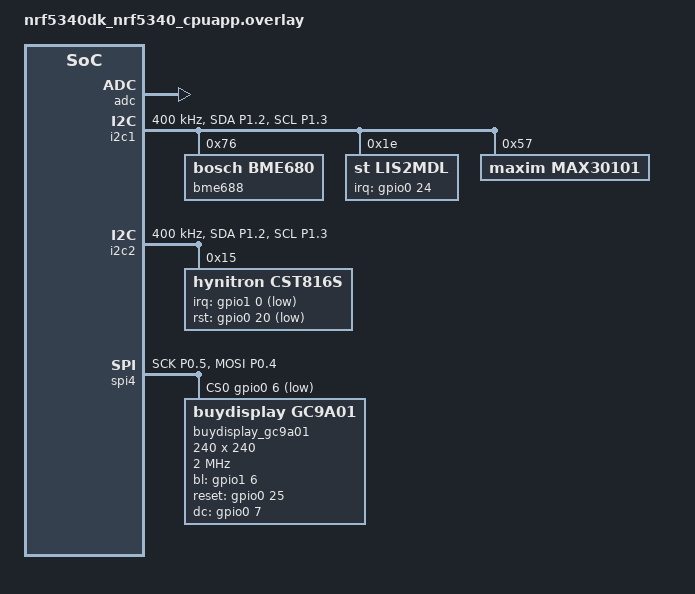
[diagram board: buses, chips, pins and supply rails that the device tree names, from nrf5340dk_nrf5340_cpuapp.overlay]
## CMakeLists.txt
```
# SPDX-License-Identifier: Apache-2.0

cmake_minimum_required(VERSION 3.20.0)

find_package(Zephyr REQUIRED HINTS $ENV{ZEPHYR_BASE})
project(lvgl)

add_subdirectory(drivers)

include_directories(src/)
include_directories(src/ui)


FILE(GLOB ui_sources src/ui/*.c)
target_sources(app PRIVATE ${ui_sources})

FILE(GLOB app_sources src/*.c)
target_sources(app PRIVATE ${app_sources})
```

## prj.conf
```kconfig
CONFIG_LV_Z_MEM_POOL_NUMBER_BLOCKS=8
CONFIG_MAIN_STACK_SIZE=2048

CONFIG_DISPLAY=y
CONFIG_DISPLAY_LOG_LEVEL_ERR=y

CONFIG_LOG=y
CONFIG_PM=y

CONFIG_I2C=y



CONFIG_LVGL=y
CONFIG_LV_MEM_CUSTOM=y
CONFIG_LV_USE_LOG=y
CONFIG_LV_USE_LABEL=y
CONFIG_LV_USE_BTN=y
CONFIG_LV_USE_IMG=y
CONFIG_LV_FONT_MONTSERRAT_14=y
CONFIG_SPI=y
CONFIG_PWM=y
CONFIG_PINCTRL=y
CONFIG_PM_DEVICE=y
CONFIG_PM_DEVICE_RUNTIME=y

CONFIG_GC9A01=y
CONFIG_KSCAN_CST816S=n

CONFIG_KSCAN=y
CONFIG_LV_Z_POINTER_KSCAN=y
CONFIG_LV_Z_POINTER_KSCAN_SWAP_XY=y
CONFIG_LV_Z_POINTER_KSCAN_INVERT_X=y
CONFIG_REGULATOR=y

CONFIG_LV_FONT_MONTSERRAT_10=y
CONFIG_LV_FONT_MONTSERRAT_12=y
CONFIG_LV_FONT_MONTSERRAT_16=y
CONFIG_LV_FONT_MONTSERRAT_18=y
CONFIG_LV_FONT_MONTSERRAT_20=y
CONFIG_LV_FONT_MONTSERRAT_22=y

CONFIG_LV_FONT_MONTSERRAT_24=y
CONFIG_LV_FONT_MONTSERRAT_26=y

CONFIG_LV_FONT_MONTSERRAT_28=y



CONFIG_DATE_TIME=y
CONFIG_DATE_TIME_NTP=n
CONFIG_DATE_TIME_AUTO_UPDATE=y
# CONFIG_ZTEST=y
# CONFIG_ZTEST_NEW_API=y
 
```

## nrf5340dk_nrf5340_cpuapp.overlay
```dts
/*
 * Copyright (c) 2023 Jakob Krantz
 *
 * SPDX-License-Identifier: Apache-2.0
 */

 &pinctrl {
    // Set to I2C pins that the sensors are connected to
    i2c1_default: i2c1_default {
        group1 {
            psels = <NRF_PSEL(TWIM_SDA, 1, 2)>,
                <NRF_PSEL(TWIM_SCL, 1, 3)>;
        };
    };

    i2c1_sleep: i2c1_sleep {
        group1 {
            psels = <NRF_PSEL(TWIM_SDA, 1, 2)>,
                <NRF_PSEL(TWIM_SCL, 1, 3)>;
            low-power-enable;
        };
    };

    // Set to I2C pins that the touch screen is connected to
    i2c2_default: i2c2_default {
        group1 {
            psels = <NRF_PSEL(TWIM_SDA, 1, 2)>,
                <NRF_PSEL(TWIM_SCL, 1, 3)>;
        };
    };

    i2c2_sleep: i2c2_sleep {
        group1 {
            psels = <NRF_PSEL(TWIM_SDA, 1, 2)>,
                <NRF_PSEL(TWIM_SCL, 1, 3)>;
            low-power-enable;
        };
    };

    // Set to the pins that the display is connected to
    spi4_default: spi4_default {
        group1 {
            psels = <NRF_PSEL(SPIM_SCK, 0, 5)>,
                <NRF_PSEL(SPIM_MOSI, 0, 4)>;
        };
    };

    spi4_sleep: spi4_sleep {
        group1 {
            psels = <NRF_PSEL(SPIM_SCK, 0, 5)>,
                <NRF_PSEL(SPIM_MOSI, 0, 4)>;
            low-power-enable;
        };
    };

};

/ {
    chosen {
        zephyr,display = &gc9a01;
        zephyr,keyboard-scan = &cst816s;
    };
    aliases {
        sw-top-right = &button1;
        sw-top-left = &button0;
        sw-bottom-right = &button3;
        sw-bottom-left = &button2;
        magn = &lis2mdl;
        kscan0 = &cst816s;
    };
};

&adc {
    status = "okay";
};

&gpiote {
    status = "okay";
};

&gpio0 {
    status = "okay";
    sense-edge-mask = < 0xffffffff >;
};

&gpio1 {
    status = "okay";
};

&i2c1 {
    compatible = "nordic,nrf-twim";
    status = "okay";
    clock-frequency = <I2C_BITRATE_FAST>;
    zephyr,concat-buf-size = <512>;
    pinctrl-0 = <&i2c1_default>;
    pinctrl-1 = <&i2c1_sleep>;
    pinctrl-names = "default", "sleep";


    bme688: bme688@76 {
        compatible = "bosch,bme680";
        reg = <0x76>;
    };

    lis2mdl: lis2mdl@1e {
        compatible = "st,lis2mdl";
        reg = <0x1e>;
        irq-gpios = <&gpio0 24 0>;
    };

    max30101@57 {
        status = "okay";
        compatible = "maxim,max30101";
        reg = <0x57>;
        //irq-gpios = <&gpio0 22 GPIO_ACTIVE_HIGH; // Not supported by Zephyr driver
    };

  
};

&i2c2 {
    compatible = "nordic,nrf-twim";
    status = "okay";
    clock-frequency = <I2C_BITRATE_FAST>;
    pinctrl-0 = <&i2c2_default>;
    pinctrl-1 = <&i2c2_sleep>;
    pinctrl-names = "default", "sleep";

    cst816s: cst816s@15 {
        compatible = "hynitron,cst816s";
        reg = <0x15>;
        irq-gpios = <&gpio1 0 GPIO_ACTIVE_LOW>;
        rst-gpios = <&gpio0 20 GPIO_ACTIVE_LOW>;
    };
};

&spi4  {
    status = "okay";
    compatible = "nordic,nrf-spim";
    pinctrl-0 = <&spi4_default>;
    pinctrl-1 = <&spi4_sleep>;
    pinctrl-names = "default", "sleep";
    cs-gpios = <&gpio0 6 GPIO_ACTIVE_LOW>;

    gc9a01: gc9a01@0 {
        compatible = "buydisplay,gc9a01";
        status = "okay";
        spi-max-frequency = <2000000>;
        reg = <0>;
        width = <240>;
        label = "buydisplay_gc9a01";
        height = <240>;
        bl-gpios = <&gpio1 6 GPIO_ACTIVE_HIGH>;
        reset-gpios = <&gpio0 25 GPIO_ACTIVE_HIGH>;
        dc-gpios = <&gpio0 7 GPIO_ACTIVE_HIGH>;
        
    };
};
```

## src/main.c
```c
#include <zephyr/kernel.h>
#include <zephyr/device.h>
#include <zephyr/devicetree.h>
#include <zephyr/drivers/display.h>
#include <zephyr/drivers/gpio.h>
#include <zephyr/sys/printk.h>
#include <hal/nrf_gpio.h>
#include "watchface_ui.h"
#include <string.h>



#define LOG_LEVEL CONFIG_LOG_DEFAULT_LEVEL
#include <zephyr/logging/log.h>
LOG_MODULE_REGISTER(app);


#ifdef CONFIG_GPIO
static struct gpio_dt_spec button_gpio = GPIO_DT_SPEC_GET_OR(
		DT_ALIAS(sw0), gpios, {0});
static struct gpio_callback button_callback;

static void button_isr_callback(const struct device *port,
				struct gpio_callback *cb,
				uint32_t pins)
{
	ARG_UNUSED(port);
	ARG_UNUSED(cb);
	ARG_UNUSED(pins);


	
}
#endif


/* 1000 msec = 1 sec */
#define SLEEP_TIME_MS   1000
bool blstatus = false;


// #define LED0_NODE DT_NODELABEL(led0)
#define LED1_NODE DT_NODELABEL(led1)

#define BUTTON0_NODE DT_NODELABEL(button0)
#define BUTTON1_NODE DT_NODELABEL(button1)
#define BUTTON2_NODE DT_NODELABEL(button2)
#define BUTTON3_NODE DT_NODELABEL(button3)



//   static const struct gpio_dt_spec led0_spec = GPIO_DT_SPEC_GET(LED0_NODE, gpios);
  static const struct gpio_dt_spec button0_spec = GPIO_DT_SPEC_GET(BUTTON0_NODE, gpios);
  static const struct gpio_dt_spec button1_spec = GPIO_DT_SPEC_GET(BUTTON1_NODE, gpios);
  static const struct gpio_dt_spec button2_spec = GPIO_DT_SPEC_GET(BUTTON2_NODE, gpios);
  static const struct gpio_dt_spec button3_spec = GPIO_DT_SPEC_GET(BUTTON3_NODE, gpios);

  static const struct gpio_dt_spec led1_spec = GPIO_DT_SPEC_GET(LED1_NODE, gpios);


  static struct gpio_callback button0_cb;
  static struct gpio_callback button1_cb;
  static struct gpio_callback button2_cb;
  static struct gpio_callback button3_cb;



void button0_pressed_callback(const struct device *gpiob, struct gpio_callback *cb, gpio_port_pins_t pins)
{

	if (!gpio_pin_set_dt(&led1_spec, 0))
	{
		gpio_pin_set_dt(&led1_spec, 0);
		blstatus = true;
		bluetooth_status(blstatus);
	

	}

}

void button1_pressed_callback(const struct device *gpiob, struct gpio_callback *cb, gpio_port_pins_t pins)
{
	if (!gpio_pin_set_dt(&led1_spec, 0))
	{
		gpio_pin_set_dt(&led1_spec, 0);
		//here  call the screen for this button
	}

	
}
void button2_pressed_callback(const struct device *gpiob, struct gpio_callback *cb, gpio_port_pins_t pins)
{
	if (!gpio_pin_set_dt(&led1_spec, 0))
	{
		gpio_pin_set_dt(&led1_spec, 0);
		//here  call the screen for this button
	}

}

void button3_pressed_callback(const struct device *gpiob, struct gpio_callback *cb, gpio_port_pins_t pins)
{
	if (!gpio_pin_set_dt(&led1_spec, 0))
	{
		gpio_pin_set_dt(&led1_spec, 0);
		//here  call the screen for this button
	}

}



int main(void)
{

	
	int err;
	const struct device *display_dev;

	

	display_dev = DEVICE_DT_GET(DT_CHOSEN(zephyr_display));
	if (!device_is_ready(display_dev)) {
		LOG_ERR("Device not ready, aborting test");
		return;
	}

#ifdef CONFIG_GPIO
	if (device_is_ready(button_gpio.port)) {
		err = gpio_pin_configure_dt(&button_gpio, GPIO_INPUT);
		if (err) {
			LOG_ERR("failed to configure button gpio: %d", err);
			return;
		}

		gpio_init_callback(&button_callback, button_isr_callback,
				   BIT(button_gpio.pin));

		err = gpio_add_callback(button_gpio.port, &button_callback);
		if (err) {
			LOG_ERR("failed to add button callback: %d", err);
			return;
		}

		err = gpio_pin_interrupt_configure_dt(&button_gpio,
						      GPIO_INT_EDGE_TO_ACTIVE);
		if (err) {
			LOG_ERR("failed to enable button callback: %d", err);
			return;
		}
	}
#endif


display_blanking_off(display_dev);

	// gpio_pin_configure_dt(&led0_spec, GPIO_OUTPUT);
	gpio_pin_configure_dt(&led1_spec, GPIO_OUTPUT);
	gpio_pin_configure_dt(&button0_spec, GPIO_INPUT);
	gpio_pin_configure_dt(&button1_spec, GPIO_INPUT);
	gpio_pin_configure_dt(&button2_spec, GPIO_INPUT);
	gpio_pin_configure_dt(&button3_spec, GPIO_INPUT);


	gpio_pin_interrupt_configure_dt(&button0_spec, GPIO_INT_EDGE_TO_ACTIVE);
	gpio_pin_interrupt_configure_dt(&button1_spec, GPIO_INT_EDGE_TO_ACTIVE);
	gpio_pin_interrupt_configure_dt(&button2_spec, GPIO_INT_EDGE_TO_ACTIVE);
	gpio_pin_interrupt_configure_dt(&button3_spec, GPIO_INT_EDGE_TO_ACTIVE);


	gpio_init_callback(&button0_cb, button0_pressed_callback, BIT(button0_spec.pin));

	gpio_init_callback(&button1_cb, button1_pressed_callback, BIT(button1_spec.pin));
	gpio_init_callback(&button2_cb, button2_pressed_callback, BIT(button2_spec.pin));
	gpio_init_callback(&button3_cb, button3_pressed_callback, BIT(button3_spec.pin));


	gpio_add_callback(button0_spec.port, &button0_cb);
	gpio_add_callback(button1_spec.port, &button1_cb);
	gpio_add_callback(button2_spec.port, &button2_cb);
	gpio_add_callback(button3_spec.port, &button3_cb);

	while (1) {
    watchface_init(blstatus);
	if(!gpio_pin_set_dt(&led1_spec, 1)){
		k_msleep(30000);
		gpio_pin_set_dt(&led1_spec, 1);
	}
	}


}
```
